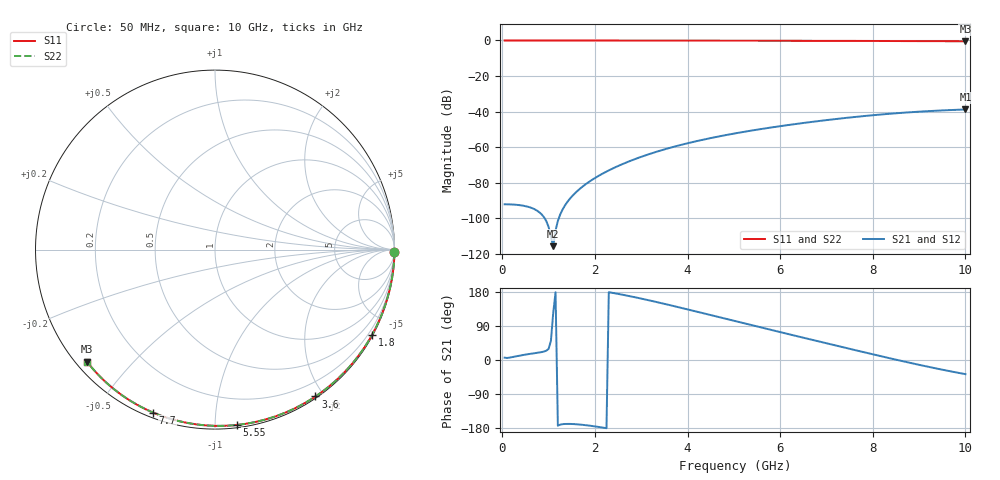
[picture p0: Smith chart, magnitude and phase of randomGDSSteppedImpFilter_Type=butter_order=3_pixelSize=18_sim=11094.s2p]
! freq	dB(S11)	phase(S11)	dB(S12)	phase(S12)
!  dB(S21)	phase(S21)	dB(S22)	phase(S22)
!S-par simulation data
#  GHz  S  DB  R 50
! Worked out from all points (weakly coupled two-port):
!   200 points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, 50 MHz to 10 GHz, reference 50 ohm
!   highest |S21| = -38.80 dB at 10 GHz (marker M1); lowest = -115.7 dB at 1.1 GHz (marker M2)
!   lowest |S11| = -0.5 dB at 10 GHz (marker M3), VSWR 37.52, Z = 1.52 - j18.8 ohm
!   |S11| at or under -10 dB: nowhere
!   |S22| runs from -0.5 to 0.0 dB; largest |S21 - S12| = 0
!   S11 on the Smith chart (normalised r, x): 50 MHz: open; 1.8 GHz: 0.03, -3.94; 3.6 GHz: 0.02, -1.90; 5.55 GHz: 0.02, -1.13; 7.7 GHz: 0.02, -0.69; 10 GHz: 0.03, -0.38
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0.05  -0.00 -0.8  -92.13 6.1  -92.13 6.1  -0.00 -0.8
0.55  -0.01 -8.8  -93.48 15.3  -93.48 15.3  -0.01 -8.8
1.1  -0.02 -17.5  -115.68 124.9  -115.68 124.9  -0.02 -17.5
1.75  -0.04 -27.7  -81.83 -171.3  -81.83 -171.3  -0.04 -27.7
1.8  -0.04 -28.5  -80.85 -172.0  -80.85 -172.0  -0.04 -28.5
1.85  -0.04 -29.3  -79.92 -172.7  -79.92 -172.7  -0.04 -29.3
2  -0.04 -31.6  -77.37 -175.2  -77.37 -175.2  -0.04 -31.6
2.15  -0.04 -33.9  -75.10 -178.0  -75.10 -178.0  -0.04 -33.9
2.35  -0.05 -37.0  -72.41 177.9  -72.41 177.9  -0.05 -37.0
2.55  -0.05 -40.0  -70.02 173.4  -70.02 173.4  -0.05 -40.0
2.95  -0.06 -46.0  -65.90 163.4  -65.90 163.4  -0.06 -46.0
3.4  -0.07 -52.7  -62.03 151.1  -62.03 151.1  -0.07 -52.7
3.6  -0.07 -55.6  -60.52 145.3  -60.52 145.3  -0.07 -55.6
4.3  -0.09 -65.7  -56.00 124.6  -56.00 124.6  -0.09 -65.7
5.05  -0.12 -76.2  -52.14 101.9  -52.14 101.9  -0.12 -76.2
5.55  -0.14 -83.0  -49.96 87.0  -49.96 87.0  -0.14 -83.0
6.1  -0.16 -90.3  -47.82 70.6  -47.82 70.6  -0.16 -90.3
6.7  -0.19 -98.1  -45.74 52.9  -45.74 52.9  -0.19 -98.1
7.7  -0.25 -110.8  -42.79 23.7  -42.79 23.7  -0.25 -110.8
8.35  -0.30 -118.8  -41.25 5.1  -41.25 5.1  -0.30 -118.8
9.15  -0.38 -128.6  -39.81 -16.7  -39.81 -16.7  -0.38 -128.6
10  -0.46 -138.8  -38.80 -37.3  -38.80 -37.3  -0.46 -138.8
